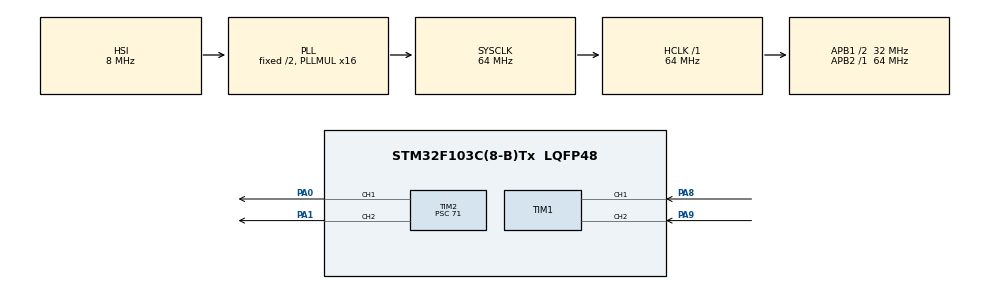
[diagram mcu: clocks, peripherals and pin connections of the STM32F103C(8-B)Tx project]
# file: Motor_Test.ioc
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Mcu.Family=STM32F1
Mcu.Name=STM32F103C(8-B)Tx
Mcu.Package=LQFP48
NVIC.PriorityGroup=NVIC_PRIORITYGROUP_4
NVIC.TIM3_IRQn=true\:0\:0\:false\:false\:true\:true\:true\:true
PA0-WKUP.Signal=S_TIM2_CH1_ETR
PA1.Signal=S_TIM2_CH2
PA8.GPIO_PuPd=GPIO_PULLUP
PA8.Signal=S_TIM1_CH1
PA9.GPIO_PuPd=GPIO_PULLUP
PA9.Signal=S_TIM1_CH2
ProjectManager.HeapSize=0x200
ProjectManager.StackSize=0x400
ProjectManager.TargetToolchain=MDK-ARM V5.32
RCC.AHBFreq_Value=64000000
RCC.APB1CLKDivider=RCC_HCLK_DIV2
RCC.APB1Freq_Value=32000000
RCC.APB1TimFreq_Value=64000000
RCC.APB2Freq_Value=64000000
RCC.APB2TimFreq_Value=64000000
RCC.HCLKFreq_Value=64000000
RCC.PLLMUL=RCC_PLL_MUL16
RCC.SYSCLKFreq_VALUE=64000000
RCC.SYSCLKSource=RCC_SYSCLKSOURCE_PLLCLK
RCC.USBFreq_Value=64000000
SH.S_TIM1_CH1.0=TIM1_CH1,Encoder_Interface
SH.S_TIM1_CH2.0=TIM1_CH2,Encoder_Interface
SH.S_TIM2_CH1_ETR.0=TIM2_CH1,PWM Generation1 CH1
SH.S_TIM2_CH2.0=TIM2_CH2,PWM Generation2 CH2
TIM1.EncoderMode=TIM_ENCODERMODE_TI12
TIM2.Channel-PWM\ Generation1\ CH1=TIM_CHANNEL_1
TIM2.Channel-PWM\ Generation2\ CH2=TIM_CHANNEL_2
TIM2.Period=19999
TIM2.Prescaler=71
TIM3.Period=999
TIM3.Prescaler=71
VP_SYS_VS_ND.Mode=No_Debug
VP_TIM2_VS_ClockSourceINT.Mode=Internal
VP_TIM3_VS_ClockSourceINT.Mode=Internal
board=custom

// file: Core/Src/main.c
/* USER CODE BEGIN Header */
/**
  ******************************************************************************
  * @file           : main.c
  * @brief          : Main program body
  ******************************************************************************
  * @attention
  *
  * Copyright (c) 2023 STMicroelectronics.
  * All rights reserved.
  *
  * This software is licensed under terms that can be found in the LICENSE file
  * in the root directory of this software component.
  * If no LICENSE file comes with this software, it is provided AS-IS.
  *
  ******************************************************************************
  */
/* USER CODE END Header */
#include "main.h"
#include "tim.h"
#include "gpio.h"

/* USER CODE BEGIN Includes */
#include "pid.h"
/* USER CODE END Includes */

/* USER CODE BEGIN PD */
#define TIM_PERIOD 19999 //此时PWM的周期为20ms
/* USER CODE END PD */

/* USER CODE BEGIN PV */
pid_type_def PID;
float PID_Param[3] = {100.0,40.0,0.0};
float Speed;
float Set;
/* USER CODE END PV */

void SystemClock_Config(void);
/* USER CODE BEGIN PFP */
void PWM_Speed_Control(int Set_Speed);
/* USER CODE END PFP */

int main(void)
{

  /* MCU Configuration--------------------------------------------------------*/

  /* Reset of all peripherals, Initializes the Flash interface and the Systick. */
  HAL_Init();

  /* Configure the system clock */
  SystemClock_Config();

  /* Initialize all configured peripherals */
  MX_GPIO_Init();
  MX_TIM1_Init();
  MX_TIM2_Init();
  MX_TIM3_Init();
  /* USER CODE BEGIN 2 */

	HAL_TIM_Encoder_Start(&htim1,TIM_CHANNEL_ALL);
	HAL_TIM_Base_Start_IT(&htim3);
	HAL_TIM_PWM_Start(&htim2,TIM_CHANNEL_1);
	HAL_TIM_PWM_Start(&htim2,TIM_CHANNEL_2);
	PID_init(&PID,PID_POSITION,PID_Param,TIM_PERIOD,5000);
  /* USER CODE END 2 */

  /* Infinite loop */
  while (1)
  {

    /* USER CODE BEGIN 3 */
		PID_calc(&PID,Speed,Set);
		PWM_Speed_Control(PID.out);
		HAL_Delay(1);

  }
  /* USER CODE END 3 */
}

void SystemClock_Config(void)
{
  RCC_OscInitTypeDef RCC_OscInitStruct = {0};
  RCC_ClkInitTypeDef RCC_ClkInitStruct = {0};

  /** Initializes the RCC Oscillators according to the specified parameters
  * in the RCC_OscInitTypeDef structure.
  */
  RCC_OscInitStruct.OscillatorType = RCC_OSCILLATORTYPE_HSI;
  RCC_OscInitStruct.HSIState = RCC_HSI_ON;
  RCC_OscInitStruct.HSICalibrationValue = RCC_HSICALIBRATION_DEFAULT;
  RCC_OscInitStruct.PLL.PLLState = RCC_PLL_ON;
  RCC_OscInitStruct.PLL.PLLSource = RCC_PLLSOURCE_HSI_DIV2;
  RCC_OscInitStruct.PLL.PLLMUL = RCC_PLL_MUL16;
  if (HAL_RCC_OscConfig(&RCC_OscInitStruct) != HAL_OK)
  {
    Error_Handler();
  }

  /** Initializes the CPU, AHB and APB buses clocks
  */
  RCC_ClkInitStruct.ClockType = RCC_CLOCKTYPE_HCLK|RCC_CLOCKTYPE_SYSCLK
                              |RCC_CLOCKTYPE_PCLK1|RCC_CLOCKTYPE_PCLK2;
  RCC_ClkInitStruct.SYSCLKSource = RCC_SYSCLKSOURCE_PLLCLK;
  RCC_ClkInitStruct.AHBCLKDivider = RCC_SYSCLK_DIV1;
  RCC_ClkInitStruct.APB1CLKDivider = RCC_HCLK_DIV2;
  RCC_ClkInitStruct.APB2CLKDivider = RCC_HCLK_DIV1;

  if (HAL_RCC_ClockConfig(&RCC_ClkInitStruct, FLASH_LATENCY_2) != HAL_OK)
  {
    Error_Handler();
  }
}

/* USER CODE BEGIN 4 */

void PWM_Speed_Control(int Set_Speed)
{
	if(Set_Speed > 0)
	{
		TIM2->CCR1 = 0;
		TIM2->CCR2 = Set_Speed;
	}
	else if(Set_Speed < 0)
	{
		TIM2->CCR1 = -Set_Speed;
		TIM2->CCR2 = 0;

	}
}

/* USER CODE END 4 */

void Error_Handler(void)
{
  __disable_irq();
  while (1)
  {
  }
}
